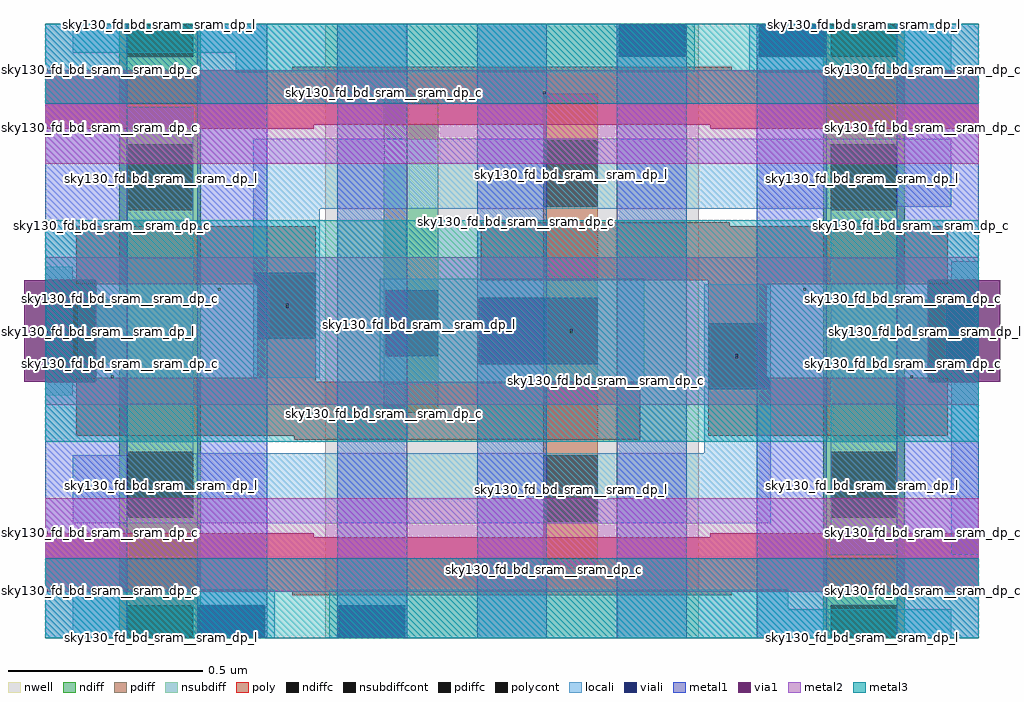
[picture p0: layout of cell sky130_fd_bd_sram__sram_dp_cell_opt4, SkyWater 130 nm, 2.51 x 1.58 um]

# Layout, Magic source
magic
tech sky130A
magscale 1 2
<< ndiffc >>
rect 42 299 76 316
rect 404 299 438 316
rect 42 220 76 254
rect 404 220 438 254
rect 0 142 17 174
rect 463 142 480 174
rect 42 62 76 96
rect 404 62 438 96
rect 42 0 76 17
rect 404 0 438 17
<< pdiffc >>
rect 256 222 284 256
rect 256 141 284 175
rect 256 60 284 94
<< polycont >>
rect 107 182 139 188
rect 109 154 139 182
rect 341 134 371 162
rect 341 128 373 134
use sky130_fd_bd_sram__sram_dp_cell_half_limcon_opta  sky130_fd_bd_sram__sram_dp_cell_half_limcon_opta_0
transform -1 0 480 0 -1 316
box 0 0 240 316
use sky130_fd_bd_sram__sram_dp_cell  sky130_fd_bd_sram__sram_dp_cell_0
transform 1 0 0 0 1 0
box 0 0 480 316
use sky130_fd_bd_sram__sram_dp_cell_opt1_poly_siz  sky130_fd_bd_sram__sram_dp_cell_opt1_poly_siz_0
transform 1 0 0 0 1 0
box 0 24 480 293
use sky130_fd_bd_sram__sram_dp_cell_half_met1_opta  sky130_fd_bd_sram__sram_dp_cell_half_met1_opta_0
transform -1 0 480 0 1 0
box 0 0 240 316
use sky130_fd_bd_sram__sram_dp_cell_half_met1_opta  sky130_fd_bd_sram__sram_dp_cell_half_met1_opta_1
transform 1 0 0 0 1 0
box 0 0 240 316
use sky130_fd_bd_sram__sram_dp_cell_met23_opt1  sky130_fd_bd_sram__sram_dp_cell_met23_opt1_0
transform 1 0 0 0 1 0
box -11 0 491 316
use sky130_fd_bd_sram__sram_dp_cell_half_limcon_optb  sky130_fd_bd_sram__sram_dp_cell_half_limcon_optb_0
transform 1 0 0 0 1 0
box 0 0 240 316
<< properties >>
string GDS_FILE sky130_fd_bd_sram__sram_dp_cell_opt4.gds
string GDS_END 12142
string GDS_START 11562
<< end >>

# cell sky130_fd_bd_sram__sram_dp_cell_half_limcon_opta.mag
magic
tech sky130A
magscale 1 2
<< locali >>
rect 14 301 240 316
rect 98 291 240 301
rect 0 122 14 273
rect 42 95 76 273
rect 107 221 240 257
rect 107 134 141 221
rect 172 131 240 185
rect 42 94 240 95
rect 14 59 240 94
rect 14 0 118 25
rect 146 0 240 25
use sky130_fd_bd_sram__sram_dp_mcon_05  sky130_fd_bd_sram__sram_dp_mcon_05_0
transform 1 0 96 0 1 0
box -17 0 17 17
use sky130_fd_bd_sram__sram_dp_mcon_05  sky130_fd_bd_sram__sram_dp_mcon_05_1
transform 0 1 0 -1 0 158
box -17 0 17 17
use sky130_fd_bd_sram__sram_dp_mcon_05  sky130_fd_bd_sram__sram_dp_mcon_05_2
transform 0 -1 240 1 0 158
box -17 0 17 17
use sky130_fd_bd_sram__sram_dp_mcon_05  sky130_fd_bd_sram__sram_dp_mcon_05_3
transform 1 0 168 0 1 0
box -17 0 17 17
<< properties >>
string GDS_FILE sky130_fd_bd_sram__sram_dp_cell_half_limcon_opta.gds
string GDS_END 1104
string GDS_START 320
<< end >>

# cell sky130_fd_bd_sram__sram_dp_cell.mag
magic
tech sky130A
magscale 1 2
<< ndiffc >>
rect 42 299 76 316
rect 404 299 438 316
rect 42 220 76 254
rect 404 220 438 254
rect 0 142 17 174
rect 463 142 480 174
rect 42 62 76 96
rect 404 62 438 96
rect 42 0 76 17
rect 404 0 438 17
<< pdiffc >>
rect 256 222 284 256
rect 256 141 284 175
rect 256 60 284 94
<< nsubdiffcont >>
rect 175 145 202 179
<< poly >>
rect 256 102 306 132
<< polycont >>
rect 107 182 139 188
rect 109 154 139 182
rect 341 134 371 162
rect 341 128 373 134
use sky130_fd_bd_sram__sram_dp_cell_ndiff  sky130_fd_bd_sram__sram_dp_cell_ndiff_0
transform -1 0 480 0 1 0
box 0 0 80 316
use sky130_fd_bd_sram__sram_dp_cell_ndiff  sky130_fd_bd_sram__sram_dp_cell_ndiff_1
transform 1 0 0 0 1 0
box 0 0 80 316
use sky130_fd_bd_sram__sram_dp_cell_poly_chair  sky130_fd_bd_sram__sram_dp_cell_poly_chair_0
transform 1 0 0 0 1 0
box 0 22 256 294
use sky130_fd_bd_sram__sram_dp_cell_poly_chair  sky130_fd_bd_sram__sram_dp_cell_poly_chair_1
transform -1 0 480 0 -1 316
box 0 22 256 294
use sky130_fd_bd_sram__sram_dp_cell_pdiff  sky130_fd_bd_sram__sram_dp_cell_pdiff_0
transform 1 0 0 0 1 0
box 144 0 336 316
<< properties >>
string GDS_FILE sky130_fd_bd_sram__sram_dp_cell.gds
string GDS_END 4008
string GDS_START 3522
<< end >>

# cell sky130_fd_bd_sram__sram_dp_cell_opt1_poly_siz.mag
magic
tech sky130A
magscale 1 2
use sky130_fd_bd_sram__sram_dp_cell_half_poly_siz_optd  sky130_fd_bd_sram__sram_dp_cell_half_poly_siz_optd_0
transform 1 0 0 0 1 24
box 0 0 1 1
use sky130_fd_bd_sram__sram_dp_cell_half_poly_siz_optc  sky130_fd_bd_sram__sram_dp_cell_half_poly_siz_optc_0
transform 1 0 0 0 1 54
box 0 0 1 1
use sky130_fd_bd_sram__sram_dp_cell_half_poly_siz_optd  sky130_fd_bd_sram__sram_dp_cell_half_poly_siz_optd_1
transform -1 0 480 0 1 24
box 0 0 1 1
use sky130_fd_bd_sram__sram_dp_cell_half_poly_siz_optc  sky130_fd_bd_sram__sram_dp_cell_half_poly_siz_optc_1
transform -1 0 480 0 1 54
box 0 0 1 1
use sky130_fd_bd_sram__sram_dp_cell_poly_srf_opta  sky130_fd_bd_sram__sram_dp_cell_poly_srf_opta_1
transform 1 0 34 0 1 134
box 0 0 1 1
use sky130_fd_bd_sram__sram_dp_cell_poly_srf_dp_opta  sky130_fd_bd_sram__sram_dp_cell_poly_srf_dp_opta_1
transform 1 0 89 0 1 179
box 0 0 1 1
use sky130_fd_bd_sram__sram_dp_cell_poly_srf_optb  sky130_fd_bd_sram__sram_dp_cell_poly_srf_optb_0
transform 1 0 288 0 1 132
box 0 0 1 1
use sky130_fd_bd_sram__sram_dp_cell_poly_srf_dp_opta  sky130_fd_bd_sram__sram_dp_cell_poly_srf_dp_opta_0
transform -1 0 391 0 1 179
box 0 0 1 1
use sky130_fd_bd_sram__sram_dp_cell_poly_srf_opta  sky130_fd_bd_sram__sram_dp_cell_poly_srf_opta_4
transform -1 0 446 0 1 134
box 0 0 1 1
use sky130_fd_bd_sram__sram_dp_cell_poly_srf_opta  sky130_fd_bd_sram__sram_dp_cell_poly_srf_opta_0
transform 1 0 34 0 1 212
box 0 0 1 1
use sky130_fd_bd_sram__sram_dp_cell_half_poly_siz_optb  sky130_fd_bd_sram__sram_dp_cell_half_poly_siz_optb_1
transform 1 0 0 0 1 262
box 0 0 1 1
use sky130_fd_bd_sram__sram_dp_cell_poly_srf_opta  sky130_fd_bd_sram__sram_dp_cell_poly_srf_opta_2
transform 1 0 242 0 1 214
box 0 0 1 1
use sky130_fd_bd_sram__sram_dp_cell_poly_srf_opta  sky130_fd_bd_sram__sram_dp_cell_poly_srf_opta_3
transform -1 0 446 0 1 212
box 0 0 1 1
use sky130_fd_bd_sram__sram_dp_cell_half_poly_siz_optb  sky130_fd_bd_sram__sram_dp_cell_half_poly_siz_optb_0
transform -1 0 480 0 1 262
box 0 0 1 1
use sky130_fd_bd_sram__sram_dp_cell_half_poly_siz_opta  sky130_fd_bd_sram__sram_dp_cell_half_poly_siz_opta_0
transform 1 0 0 0 1 292
box 0 0 1 1
use sky130_fd_bd_sram__sram_dp_cell_half_poly_siz_opta  sky130_fd_bd_sram__sram_dp_cell_half_poly_siz_opta_1
transform -1 0 480 0 1 292
box 0 0 1 1
<< properties >>
string GDS_FILE sky130_fd_bd_sram__sram_dp_cell_opt1_poly_siz.gds
string GDS_END 4268
string GDS_START 1798
<< end >>

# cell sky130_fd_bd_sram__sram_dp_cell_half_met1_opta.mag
magic
tech sky130A
<< metal1 >>
rect 0 0 21 158
rect 39 0 57 158
rect 75 0 93 158
rect 111 0 120 158
<< properties >>
string GDS_FILE sky130_fd_bd_sram__sram_dp_cell_half_met1_opta.gds
string GDS_END 442
string GDS_START 182
<< end >>

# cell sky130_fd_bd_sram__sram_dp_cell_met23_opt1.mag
magic
tech sky130A
magscale 1 2
<< via1 >>
rect -11 132 26 184
rect 454 132 491 184
<< metal2 >>
rect 0 244 480 292
rect 0 184 480 196
rect 26 132 454 184
rect 0 120 480 132
rect 0 24 480 72
<< metal3 >>
rect 0 275 480 316
rect 0 101 480 215
rect 0 0 480 41
<< labels >>
flabel metal3 s 240 298 240 298 0 FreeSans 200 0 0 0 vpwr
flabel metal3 s 240 23 240 23 0 FreeSans 200 0 0 0 vpwr
flabel metal3 s 240 178 240 178 0 FreeSans 200 0 0 0 gwl
flabel metal2 s 240 48 240 48 0 FreeSans 200 0 0 0 swl (k or j)
flabel metal2 s 240 268 240 268 0 FreeSans 200 0 0 0 swl (j or k)
flabel metal2 s 240 148 240 148 0 FreeSans 200 0 0 0 vgnd
<< properties >>
string GDS_FILE sky130_fd_bd_sram__sram_dp_cell_met23_opt1.gds
string GDS_END 1090
string GDS_START 174
<< end >>

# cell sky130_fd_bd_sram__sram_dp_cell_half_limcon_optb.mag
magic
tech sky130A
magscale 1 2
<< locali >>
rect 14 301 240 316
rect 98 291 240 301
rect 0 125 14 191
rect 42 95 76 273
rect 107 221 240 257
rect 107 134 141 221
rect 172 131 240 185
rect 42 94 240 95
rect 14 59 240 94
rect 14 0 118 25
rect 146 0 240 25
use sky130_fd_bd_sram__sram_dp_mcon_05  sky130_fd_bd_sram__sram_dp_mcon_05_0
transform 1 0 96 0 1 0
box -17 0 17 17
use sky130_fd_bd_sram__sram_dp_mcon_05  sky130_fd_bd_sram__sram_dp_mcon_05_1
transform 0 -1 240 1 0 158
box -17 0 17 17
use sky130_fd_bd_sram__sram_dp_mcon_05  sky130_fd_bd_sram__sram_dp_mcon_05_2
transform 1 0 168 0 1 0
box -17 0 17 17
<< labels >>
flabel comment s 32 174 32 174 0 FreeSans 100 0 0 0 short li
flabel comment s 40 157 40 157 0 FreeSans 100 0 0 0 no mcon
flabel comment s 32 136 32 136 0 FreeSans 100 0 0 0 in cell
<< properties >>
string GDS_FILE sky130_fd_bd_sram__sram_dp_cell_half_limcon_optb.gds
string GDS_END 1232
string GDS_START 320
<< end >>

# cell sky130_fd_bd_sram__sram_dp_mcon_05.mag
magic
tech sky130A
magscale 1 2
<< viali >>
rect -17 0 17 17
<< properties >>
string GDS_FILE sky130_fd_bd_sram__sram_dp_mcon_05.gds
string GDS_END 226
string GDS_START 158
<< end >>

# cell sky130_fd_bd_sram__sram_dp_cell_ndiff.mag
magic
tech sky130A
magscale 1 2
<< ndiff >>
rect 38 174 80 316
rect 0 142 80 174
rect 38 0 80 142
use sky130_fd_bd_sram__sram_dp_cell_fom_srf_1  sky130_fd_bd_sram__sram_dp_cell_fom_srf_1_0
transform 1 0 38 0 -1 142
box 0 0 1 1
use sky130_fd_bd_sram__sram_dp_cell_fom_srf_1  sky130_fd_bd_sram__sram_dp_cell_fom_srf_1_1
transform 1 0 38 0 1 174
box 0 0 1 1
use sky130_fd_bd_sram__sram_dp_licon_1  sky130_fd_bd_sram__sram_dp_licon_1_0
transform 1 0 59 0 1 79
box 0 -1 1 1
use sky130_fd_bd_sram__sram_dp_licon_1  sky130_fd_bd_sram__sram_dp_licon_1_1
transform 1 0 59 0 1 237
box 0 -1 1 1
use sky130_fd_bd_sram__sram_dp_licon_05  sky130_fd_bd_sram__sram_dp_licon_05_0
transform 1 0 59 0 1 0
box 0 0 1 1
use sky130_fd_bd_sram__sram_dp_licon_05  sky130_fd_bd_sram__sram_dp_licon_05_1
transform 0 1 0 -1 0 158
box 0 0 1 1
use sky130_fd_bd_sram__sram_dp_licon_05  sky130_fd_bd_sram__sram_dp_licon_05_2
transform -1 0 59 0 -1 316
box 0 0 1 1
<< properties >>
string GDS_FILE sky130_fd_bd_sram__sram_dp_cell_ndiff.gds
string GDS_END 1466
string GDS_START 640
<< end >>

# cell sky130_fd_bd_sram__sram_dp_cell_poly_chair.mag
magic
tech sky130A
magscale 1 2
<< poly >>
rect 16 182 139 212
rect 109 134 139 182
rect 16 132 139 134
rect 16 104 256 132
rect 128 102 256 104
use sky130_fd_bd_sram__sram_dp_licon_1  sky130_fd_bd_sram__sram_dp_licon_1_0
transform 1 0 124 0 1 171
box 0 -1 1 1
use sky130_fd_bd_sram__sram_dp_cell_half_wl  sky130_fd_bd_sram__sram_dp_cell_half_wl_0
transform 1 0 0 0 -1 292
box 0 -2 240 30
use sky130_fd_bd_sram__sram_dp_cell_half_wl  sky130_fd_bd_sram__sram_dp_cell_half_wl_1
transform 1 0 0 0 1 24
box 0 -2 240 30
<< properties >>
string GDS_FILE sky130_fd_bd_sram__sram_dp_cell_poly_chair.gds
string GDS_END 1066
string GDS_START 678
<< end >>

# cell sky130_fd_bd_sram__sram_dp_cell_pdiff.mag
magic
tech sky130A
magscale 1 2
<< nwell >>
rect 144 0 336 316
<< pdiff >>
rect 256 36 284 280
<< nsubdiff >>
rect 174 116 202 280
use sky130_fd_bd_sram__sram_dp_licon_1  sky130_fd_bd_sram__sram_dp_licon_1_0
transform 1 0 270 0 1 77
box 0 -1 1 1
use sky130_fd_bd_sram__sram_dp_licon_1  sky130_fd_bd_sram__sram_dp_licon_1_1
transform 1 0 270 0 1 239
box 0 -1 1 1
use sky130_fd_bd_sram__sram_dp_licon_1  sky130_fd_bd_sram__sram_dp_licon_1_2
transform 1 0 192 0 1 162
box 0 -1 1 1
use sky130_fd_bd_sram__sram_dp_licon_1  sky130_fd_bd_sram__sram_dp_licon_1_3
transform 1 0 270 0 1 158
box 0 -1 1 1
use sky130_fd_bd_sram__sram_dp_cell_fom_ext_1  sky130_fd_bd_sram__sram_dp_cell_fom_ext_1_0
transform 1 0 174 0 -1 116
box 0 0 1 1
use sky130_fd_bd_sram__sram_dp_cell_fom_ext_1  sky130_fd_bd_sram__sram_dp_cell_fom_ext_1_1
transform 1 0 256 0 -1 36
box 0 0 1 1
use sky130_fd_bd_sram__sram_dp_cell_fom_ext_1  sky130_fd_bd_sram__sram_dp_cell_fom_ext_1_2
transform 1 0 174 0 1 280
box 0 0 1 1
use sky130_fd_bd_sram__sram_dp_cell_fom_ext_1  sky130_fd_bd_sram__sram_dp_cell_fom_ext_1_3
transform 1 0 256 0 1 280
box 0 0 1 1
<< properties >>
string GDS_FILE sky130_fd_bd_sram__sram_dp_cell_pdiff.gds
string GDS_END 1792
string GDS_START 640
<< end >>

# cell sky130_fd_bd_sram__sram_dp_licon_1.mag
magic
tech sky130A
magscale 1 2
use sky130_fd_bd_sram__sram_dp_licon_05  sky130_fd_bd_sram__sram_dp_licon_05_0
transform 1 0 0 0 -1 0
box 0 0 1 1
use sky130_fd_bd_sram__sram_dp_licon_05  sky130_fd_bd_sram__sram_dp_licon_05_1
transform 1 0 0 0 1 0
box 0 0 1 1
<< properties >>
string GDS_FILE sky130_fd_bd_sram__sram_dp_licon_1.gds
string GDS_END 424
string GDS_START 294
<< end >>

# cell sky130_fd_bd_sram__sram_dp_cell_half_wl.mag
magic
tech sky130A
magscale 1 2
<< poly >>
rect 0 28 138 30
rect 0 0 240 28
rect 127 -2 240 0
<< properties >>
string GDS_FILE sky130_fd_bd_sram__sram_dp_cell_half_wl.gds
string GDS_END 270
string GDS_START 170
<< end >>
